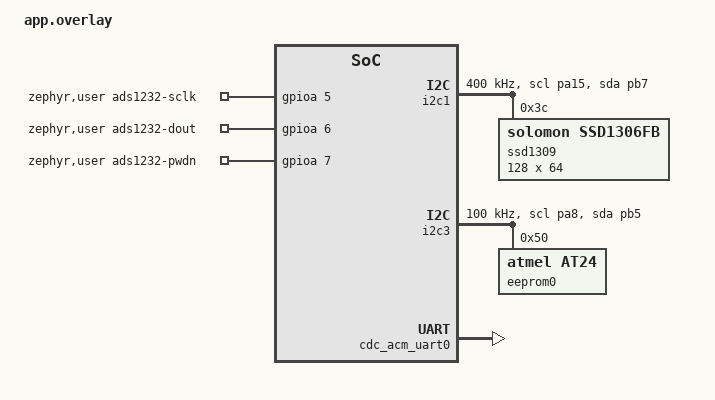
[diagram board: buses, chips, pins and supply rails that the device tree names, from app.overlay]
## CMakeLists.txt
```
# Copyright (c) 2026
# SPDX-License-Identifier: Apache-2.0

cmake_minimum_required(VERSION 3.20.0)

find_package(Zephyr REQUIRED HINTS $ENV{ZEPHYR_BASE})
project(dajilog_scale)

if(NOT "${BOARD}" STREQUAL "dajilog_tech")
  message(FATAL_ERROR "dajilog_scale is pinned to -b dajilog_tech")
endif()

target_include_directories(app PRIVATE include)

target_sources(app PRIVATE
  src/main.c
  src/scale_service.c
  src/calibration_fsm.c
  src/calibration_store.c
  src/scale_can_protocol.c
  src/scale_can_service.c
)
```

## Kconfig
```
# Copyright (c) 2026
# SPDX-License-Identifier: Apache-2.0

source "Kconfig.zephyr"

menuconfig DAJILOG_SCALE_APP
	bool "Dajilog scale application"
	default y
	depends on DAJILOG_COMPONENT_ADS1232
	depends on DAJILOG_COMPONENT_CAN_BUS
	depends on DAJILOG_COMPONENT_EEPROM_STORE
	depends on DAJILOG_COMPONENT_DEVICE_PROFILE
	depends on DAJILOG_COMPONENT_DEVICE_INFO
	depends on DAJILOG_COMPONENT_DEVICE_PROVISIONING

if DAJILOG_SCALE_APP

config SCALE_SAMPLE_PERIOD_MS
	int "ADS1232 sample period in milliseconds"
	default 100
	range 50 1000

config SCALE_FILTER_WINDOW_SAMPLES
	int "Moving-average and stability window sample count"
	default 10
	range 2 32

config SCALE_STABLE_P2P_RAW_LIMIT
	int "Stable maximum peak-to-peak raw ADC count"
	default 200
	range 1 100000

config SCALE_RAW_DIAGNOSTIC_MODE
	bool "Bypass filtering for raw ADC diagnosis"
	default n
	help
	  Use each instantaneous ADS1232 sample directly for the displayed,
	  transmitted, and calculated value. Stability is forced true and P2P is
	  reported as zero. Use this only to investigate the analog front end; do
	  not perform or save calibration while it is enabled.

config SCALE_SERVICE_THREAD_STACK_SIZE
	int "Scale service thread stack size"
	default 2048

config SCALE_SERVICE_THREAD_PRIORITY
	int "Scale service thread priority"
	default 5

config SCALE_SERVICE_MSGQ_DEPTH
	int "Scale service command queue depth"
	default 8
	range 2 32

config SCALE_CAN_THREAD_STACK_SIZE
	int "Scale CAN service thread stack size"
	default 2048

config SCALE_CAN_THREAD_PRIORITY
	int "Scale CAN service thread priority"
	default 6

config SCALE_CAN_MEASUREMENT_PERIOD_MS
	int "CAN measurement publish period in milliseconds"
	default 500
	range 100 5000

config SCALE_CAN_DIAGNOSTIC
	bool "Print scale CAN RX/TX diagnostic frames"
	default y
	help
	  Print accepted standard command frames on ID 0x320 and periodic
	  measurement transmit requests on ID 0x322. Disable after CAN physical
	  layer and protocol integration are verified.

config SCALE_CAN_ENABLE
	bool "Enable CAN bus and scale CAN service"
	default y
	help
	  Initialize the FDCAN peripheral and start the scale CAN RX/TX service.
	  Disable this while isolating ADS1232, load-cell, or analog-front-end
	  behavior from CAN physical-layer activity.

config SCALE_LOAD_CALIBRATION_AT_BOOT
	bool "Load calibration record from EEPROM at boot"
	default n
	help
	  Keep disabled until EEPROM hardware bring-up and USB CDC startup are
	  verified together. Saving through CAL_SAVE remains explicit.

config SCALE_DEVICE_PROFILE_ALLOW_DEVELOPMENT
	bool "Allow development Device Profile fallback"
	default y
	help
	  Use the Kconfig node ID and serial when EEPROM has no valid Device
	  Profile. Production units must use a persistent provisioned profile.

config SCALE_DEVICE_NODE_ID
	int "Development CAN node ID"
	default 12
	range 1 127

config SCALE_DEVICE_SERIAL_NUMBER
	int "Development device serial number"
	default 100001
	range 1 2147483647

config SCALE_DEVICE_HW_REVISION
	int "Device hardware revision"
	default 1
	range 0 255

config SCALE_DEVICE_FW_MAJOR
	int "Firmware major version"
	default 0
	range 0 255

config SCALE_DEVICE_FW_MINOR
	int "Firmware minor version"
	default 1
	range 0 255

config SCALE_DEVICE_FW_PATCH
	int "Firmware patch version"
	default 0
	range 0 255

config SCALE_DEVICE_FW_BUILD
	int "Firmware build revision"
	default 1
	range 0 255

endif # DAJILOG_SCALE_APP
```

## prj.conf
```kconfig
CONFIG_GPIO=y

CONFIG_DAJILOG_COMPONENT_ADS1232=y
CONFIG_DAJILOG_COMPONENT_CAN_BUS=y
CONFIG_DAJILOG_COMPONENT_EEPROM_STORE=y
CONFIG_DAJILOG_COMPONENT_DEVICE_PROFILE=y
CONFIG_DAJILOG_COMPONENT_DEVICE_INFO=y
CONFIG_DAJILOG_COMPONENT_DEVICE_PROVISIONING=y
CONFIG_DAJILOG_COMPONENT_OLED_DISPLAY=y
CONFIG_DAJILOG_OLED_SCAN_I2C_ON_INIT=n
CONFIG_DAJILOG_OLED_SCAN_PERIOD_MS=0

CONFIG_EEPROM=y
CONFIG_CRC=y
CONFIG_I2C=y
CONFIG_CAN=y
CONFIG_CAN_FD_MODE=n
CONFIG_CAN_DEFAULT_BITRATE=500000

CONFIG_DISPLAY=y
CONFIG_SSD1306=y
CONFIG_CHARACTER_FRAMEBUFFER=y
CONFIG_CHARACTER_FRAMEBUFFER_USE_DEFAULT_FONTS=y

CONFIG_LOG=y
# Keep diagnostic printk() output on the USB CDC console.  There is no
# dedicated logging backend enabled for this bring-up application.
CONFIG_LOG_PRINTK=y
CONFIG_SERIAL=y
CONFIG_CONSOLE=y
CONFIG_UART_CONSOLE=y
CONFIG_UART_LINE_CTRL=y
CONFIG_USB_DEVICE_STACK=y
CONFIG_USB_CDC_ACM=y
CONFIG_USB_DEVICE_INITIALIZE_AT_BOOT=n
CONFIG_USB_DEVICE_PRODUCT="Dajilog Scale"
CONFIG_USB_DEVICE_PID=0x0005
CONFIG_SHELL=y
CONFIG_SHELL_BACKEND_SERIAL=y
CONFIG_DEVICE_SHELL=n
CONFIG_SHELL_PROMPT_UART="dajilog_scale:~$ "
CONFIG_SHELL_STACK_SIZE=1024
CONFIG_SHELL_CMD_BUFF_SIZE=128
CONFIG_SHELL_ARGC_MAX=8
CONFIG_SHELL_HISTORY=n
CONFIG_SHELL_TAB=n
CONFIG_SHELL_WILDCARD=n
CONFIG_SHELL_VT100_COMMANDS=n
CONFIG_SHELL_VT100_COLORS=n
CONFIG_SHELL_METAKEYS=n
CONFIG_SHELL_STATS=n
CONFIG_SHELL_CMDS=n
CONFIG_SHELL_LOG_BACKEND=n

CONFIG_HEAP_MEM_POOL_SIZE=2048
```

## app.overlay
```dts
/ {
	chosen {
		zephyr,console = &cdc_acm_uart0;
		zephyr,shell-uart = &cdc_acm_uart0;
		zephyr,display = &ssd1309;
	};

	aliases {
		eeprom-0 = &eeprom0;
	};

	zephyr,user {
		ads1232-sclk-gpios = <&gpioa 5 GPIO_ACTIVE_HIGH>;
		ads1232-dout-gpios = <&gpioa 6 GPIO_ACTIVE_HIGH>;
		ads1232-pwdn-gpios = <&gpioa 7 GPIO_ACTIVE_HIGH>;
	};
};

&i2c1 {
	pinctrl-0 = <&i2c1_scl_pa15 &i2c1_sda_pb7>;
	pinctrl-names = "default";
	clock-frequency = <400000>;
	status = "okay";

	ssd1309: ssd1309@3c {
		compatible = "solomon,ssd1306fb";
		reg = <0x3c>;
		width = <128>;
		height = <64>;
		segment-offset = <0>;
		page-offset = <0>;
		display-offset = <0>;
		multiplex-ratio = <63>;
		segment-remap;
		com-invdir;
		prechargep = <0x22>;
	};
};

&i2c3 {
	pinctrl-0 = <&i2c3_scl_pa8 &i2c3_sda_pb5>;
	pinctrl-names = "default";
	clock-frequency = <100000>;
	status = "okay";

	eeprom0: eeprom@50 {
		compatible = "atmel,at24";
		reg = <0x50>;
		size = <32768>;
		pagesize = <64>;
		address-width = <16>;
		timeout = <5>;
	};
};

&zephyr_udc0 {
	cdc_acm_uart0: cdc_acm_uart0 {
		compatible = "zephyr,cdc-acm-uart";
	};
};
```

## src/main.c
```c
/* SPDX-License-Identifier: Apache-2.0 */

#include <zephyr/device.h>
#include <zephyr/devicetree.h>
#include <zephyr/drivers/uart.h>
#include <zephyr/kernel.h>
#include <zephyr/sys/printk.h>
#include <zephyr/usb/usb_device.h>

#include <ads1232/ads1232.h>
#include <can_bus/can_bus.h>
#include <dajilog_device_info/dajilog_device_info.h>
#include <dajilog_device_profile/dajilog_device_profile.h>
#include <dajilog_device_provisioning/dajilog_device_provisioning.h>
#include <display_oled/display_oled.h>
#include <eeprom_store/eeprom_store.h>

#include "scale_can_protocol.h"
#include "scale_can_service.h"
#include "scale_service.h"

#define USER_NODE DT_PATH(zephyr_user)
#define I2C1_NODE DT_NODELABEL(i2c1)

static const struct device *const console_dev =
    DEVICE_DT_GET(DT_CHOSEN(zephyr_console));

static struct ads1232 loadcell_adc = {
    .config =
        {
            .sclk = GPIO_DT_SPEC_GET(USER_NODE, ads1232_sclk_gpios),
            .dout = GPIO_DT_SPEC_GET(USER_NODE, ads1232_dout_gpios),
            .pwdn = GPIO_DT_SPEC_GET(USER_NODE, ads1232_pwdn_gpios),
            .drdy_timeout_ms = CONFIG_DAJILOG_ADS1232_DRDY_TIMEOUT_MS,
            .startup_delay_ms = CONFIG_DAJILOG_ADS1232_STARTUP_DELAY_MS,
            .sclk_half_period_us = CONFIG_DAJILOG_ADS1232_SCLK_HALF_PERIOD_US,
        },
};

static struct can_bus can1 = {
    .config =
        {
            .dev = DEVICE_DT_GET(DT_CHOSEN(zephyr_canbus)),
            .default_tx_id = SCALE_CAN_ID_MEASUREMENT,
        },
};

static struct oled_display oled = {
    .config =
        {
            .display = DEVICE_DT_GET(DT_CHOSEN(zephyr_display)),
            .i2c = DEVICE_DT_GET(I2C1_NODE),
            .i2c_speed_hz = 400000,
            .scan_i2c_on_init = false,
        },
};

static struct scale_service scale;
static struct scale_can_service scale_can;
static struct dajilog_device_profile device_profile = {
    .config =
        {
            .allow_development_profile =
                IS_ENABLED(CONFIG_SCALE_DEVICE_PROFILE_ALLOW_DEVELOPMENT),
            .development_node_id = CONFIG_SCALE_DEVICE_NODE_ID,
            .development_hardware_revision = CONFIG_SCALE_DEVICE_HW_REVISION,
            .development_serial_number = CONFIG_SCALE_DEVICE_SERIAL_NUMBER,
        },
};
static struct dajilog_device_info device_info;

static void scale_device_runtime_get(void *user_data,
                                     struct dajilog_device_runtime *runtime) {
  struct scale_service *service = user_data;
  struct scale_state state;

  scale_service_state_get(service, &state);
  if (!state.ready || !state.value_valid || !state.calibration.valid ||
      state.last_error != 0) {
    *runtime = (struct dajilog_device_runtime){
        .health = DAJILOG_DEVICE_HEALTH_DEGRADED,
        .last_error = state.last_error,
    };
    return;
  }

  *runtime = (struct dajilog_device_runtime){
      .health = DAJILOG_DEVICE_HEALTH_READY,
      .last_error = 0,
  };
}

static void start_usb_cdc_console(void) {
  uint32_t dtr = 0;

  k_sleep(K_MSEC(2000));
  if (!IS_ENABLED(CONFIG_USB_DEVICE_INITIALIZE_AT_BOOT)) {
    for (int i = 0; i < 3; i++) {
      if (usb_enable(NULL) == 0) {
        break;
      }
      k_sleep(K_MSEC(200));
    }
  }

  for (int elapsed = 0; elapsed < 3000; elapsed += 100) {
    (void)uart_line_ctrl_get(console_dev, UART_LINE_CTRL_DTR, &dtr);
    if (dtr != 0) {
      break;
    }
    k_sleep(K_MSEC(100));
  }
}

int main(void) {
  struct dajilog_device_profile_state profile_state;
  struct dajilog_device_identity identity = {
      .device_type = DAJILOG_DEVICE_TYPE_SCALE,
      .hardware_revision = CONFIG_SCALE_DEVICE_HW_REVISION,
      .firmware_major = CONFIG_SCALE_DEVICE_FW_MAJOR,
      .firmware_minor = CONFIG_SCALE_DEVICE_FW_MINOR,
      .firmware_patch = CONFIG_SCALE_DEVICE_FW_PATCH,
      .firmware_build = CONFIG_SCALE_DEVICE_FW_BUILD,
      .app_protocol_version = SCALE_CAN_PROTOCOL_VERSION,
      .capability =
          DAJILOG_CAPABILITY_MEASUREMENT | DAJILOG_CAPABILITY_CALIBRATION |
          DAJILOG_CAPABILITY_EEPROM_STORE | DAJILOG_CAPABILITY_SERVICE_MODE,
  };
  int ret;

  start_usb_cdc_console();
  printk("Dajilog scale app skeleton\r\n");
  printk("ADS1232 -> scale service -> CAN/OLED\r\n");

  ret = ads1232_init(&loadcell_adc);
  printk("ADS1232 init ret=%d\r\n", ret);
  if (ret != 0) {
    return ret;
  }

  ret = eeprom_store_init();
  printk("EEPROM readiness ret=%d (read/write test disabled by default)\r\n",
         ret);

  ret = dajilog_device_profile_init(&device_profile);
  dajilog_device_profile_get(&device_profile, &profile_state);
  printk("Device profile init ret=%d valid=%d persistent=%d development=%d "
         "node=%u serial=%u hw=%u\r\n",
         ret, profile_state.valid, profile_state.persistent,
         profile_state.development, profile_state.data.node_id,
         (unsigned int)profile_state.data.serial_number,
         profile_state.data.hardware_revision);
  if (ret != 0) {
    return ret;
  }
  identity.hardware_revision = profile_state.data.hardware_revision;
  ret = dajilog_device_info_init(&device_info, &identity, &device_profile);
  printk("Device Info init ret=%d request=0x%03x response=0x%03x\r\n", ret,
         DAJILOG_DEVICE_INFO_REQUEST_BASE_ID + profile_state.data.node_id,
         DAJILOG_DEVICE_INFO_RESPONSE_BASE_ID + profile_state.data.node_id);
  if (ret != 0) {
    return ret;
  }
  ret = dajilog_device_provisioning_init(
      &(struct dajilog_device_provisioning_config){
          .device_info = &device_info,
          .runtime_get = scale_device_runtime_get,
          .user_data = &scale,
      });
  printk("Device provisioning shell init ret=%d\r\n", ret);
  if (ret != 0) {
    return ret;
  }

  if (IS_ENABLED(CONFIG_SCALE_CAN_ENABLE)) {
    ret = can_bus_init(&can1);
    if (ret == 0) {
      ret = can_bus_start(&can1);
    }
    printk("CAN init ret=%d\r\n", ret);
    if (ret != 0) {
      return ret;
    }
  } else {
    printk("CAN disabled for ADC diagnosis\r\n");
  }

  ret = oled_display_init(&oled);
  printk("OLED init ret=%d\r\n", ret);

  ret = scale_service_init(&scale, &loadcell_adc);
  if (ret == 0) {
    ret = scale_service_start(&scale);
  }
  printk("Scale service start ret=%d\r\n", ret);
  if (ret != 0) {
    return ret;
  }

  if (IS_ENABLED(CONFIG_SCALE_CAN_ENABLE)) {
    ret = scale_can_service_init(&scale_can, &can1, &scale, &device_info);
    if (ret == 0) {
      ret = scale_can_service_start(&scale_can);
    }
    printk("Scale CAN service start ret=%d\r\n", ret);
  }

  while (1) {
    struct ads1232_state adc_state;
    struct scale_state state;
    char line0[22];
    char line1[22];

    scale_service_state_get(&scale, &state);
    ads1232_state_get(&loadcell_adc, &adc_state);
    snprintk(line0, sizeof(line0), "RAW %ld", (long)state.latest_raw);
    snprintk(line1, sizeof(line1), "Net %ld mg %s", (long)state.net_weight_mg,
             state.stable ? "ST" : "MV");
    (void)oled_display_show_text(&oled, "Dajilog Scale", line0, line1,
                                 "CAN + calibration");
    printk("SCALE raw=%ld applied=%ld p2p=%ld stable=%d net_mg=%ld cal=%d "
           "scale_err=%d adc_ready=%d adc_valid=%d adc_err=%d adc_n=%llu\r\n",
           (long)state.latest_raw, (long)state.filtered_raw,
           (long)state.p2p_raw, state.stable, (long)state.net_weight_mg,
           state.calibration_state, state.last_error, adc_state.ready,
           adc_state.value_valid, adc_state.last_error,
           (unsigned long long)adc_state.sample_count);
    k_sleep(K_MSEC(200));
  }
}
```

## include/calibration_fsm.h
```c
/* SPDX-License-Identifier: Apache-2.0 */

#ifndef DAJILOG_CALIBRATION_FSM_H_
#define DAJILOG_CALIBRATION_FSM_H_

#include "scale_types.h"

void calibration_fsm_reset(struct scale_state *state);
int calibration_fsm_handle(struct scale_state *state,
			   const struct scale_command_msg *command);
const char *calibration_state_name(enum scale_calibration_state state);

#endif /* DAJILOG_CALIBRATION_FSM_H_ */
```

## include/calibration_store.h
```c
/* SPDX-License-Identifier: Apache-2.0 */

#ifndef DAJILOG_CALIBRATION_STORE_H_
#define DAJILOG_CALIBRATION_STORE_H_

#include "scale_types.h"

int calibration_store_load(struct scale_calibration *calibration);
int calibration_store_save(struct scale_calibration *calibration);

#endif /* DAJILOG_CALIBRATION_STORE_H_ */
```

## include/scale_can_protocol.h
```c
/* SPDX-License-Identifier: Apache-2.0 */

#ifndef DAJILOG_SCALE_CAN_PROTOCOL_H_
#define DAJILOG_SCALE_CAN_PROTOCOL_H_

#include <zephyr/drivers/can.h>

#include "scale_types.h"

#define SCALE_CAN_PROTOCOL_VERSION 0x01U
#define SCALE_CAN_ID_COMMAND 0x320U
#define SCALE_CAN_ID_RESPONSE 0x321U
#define SCALE_CAN_ID_MEASUREMENT 0x322U
#define SCALE_CAN_ID_HEARTBEAT 0x323U

enum scale_can_opcode {
	SCALE_CAN_OP_GET_STATUS = 0x01,
	SCALE_CAN_OP_CAL_START = 0x10,
	SCALE_CAN_OP_CAL_SET_REFERENCE_MG = 0x11,
	SCALE_CAN_OP_CAL_ZERO_CAPTURE = 0x12,
	SCALE_CAN_OP_CAL_SPAN_CAPTURE = 0x13,
	SCALE_CAN_OP_CAL_SAVE = 0x14,
	SCALE_CAN_OP_CAL_CANCEL = 0x15,
	SCALE_CAN_OP_TARE_SET = 0x20,
	SCALE_CAN_OP_TARE_CLEAR = 0x21,
	SCALE_CAN_OP_STATUS = 0x80,
	SCALE_CAN_OP_MEASUREMENT = 0x81,
	SCALE_CAN_OP_ACK = 0x82,
	SCALE_CAN_OP_ERROR = 0xff,
};

int scale_can_decode_command(const struct can_frame *frame,
			     struct scale_command_msg *command);
void scale_can_encode_status(struct can_frame *frame, const struct scale_state *state,
			     uint8_t sequence);
void scale_can_encode_measurement(struct can_frame *frame,
				  const struct scale_state *state);

#endif /* DAJILOG_SCALE_CAN_PROTOCOL_H_ */
```

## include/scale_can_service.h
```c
/* SPDX-License-Identifier: Apache-2.0 */

#ifndef DAJILOG_SCALE_CAN_SERVICE_H_
#define DAJILOG_SCALE_CAN_SERVICE_H_

#include <zephyr/kernel.h>

#include <can_bus/can_bus.h>
#include <dajilog_device_info/dajilog_device_info.h>

#include "scale_service.h"

struct scale_can_service {
	struct can_bus *bus;
	struct scale_service *scale;
	struct dajilog_device_info *device_info;
	struct k_thread thread;
};

int scale_can_service_init(struct scale_can_service *ctx, struct can_bus *bus,
			   struct scale_service *scale,
			   struct dajilog_device_info *device_info);
int scale_can_service_start(struct scale_can_service *ctx);

#endif /* DAJILOG_SCALE_CAN_SERVICE_H_ */
```

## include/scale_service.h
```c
/* SPDX-License-Identifier: Apache-2.0 */

#ifndef DAJILOG_SCALE_SERVICE_H_
#define DAJILOG_SCALE_SERVICE_H_

#include <zephyr/kernel.h>

#include <ads1232/ads1232.h>

#include "scale_types.h"

struct scale_service {
	struct ads1232 *adc;
	struct scale_state state;
	struct k_mutex lock;
	struct k_msgq command_msgq;
	char command_buffer[CONFIG_SCALE_SERVICE_MSGQ_DEPTH *
			    sizeof(struct scale_command_msg)] __aligned(4);
	struct k_thread thread;
};

int scale_service_init(struct scale_service *ctx, struct ads1232 *adc);
int scale_service_start(struct scale_service *ctx);
int scale_service_post_command(struct scale_service *ctx,
			       const struct scale_command_msg *command);
void scale_service_state_get(struct scale_service *ctx, struct scale_state *out);

#endif /* DAJILOG_SCALE_SERVICE_H_ */
```

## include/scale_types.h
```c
/* SPDX-License-Identifier: Apache-2.0 */

#ifndef DAJILOG_SCALE_TYPES_H_
#define DAJILOG_SCALE_TYPES_H_

#include <stdbool.h>
#include <stdint.h>

enum scale_calibration_state {
	SCALE_CAL_IDLE = 0,
	SCALE_CAL_ZERO_WAIT_STABLE,
	SCALE_CAL_ZERO_CAPTURED,
	SCALE_CAL_SPAN_WAIT_STABLE,
	SCALE_CAL_REVIEW_READY,
	SCALE_CAL_SAVE_PENDING,
	SCALE_CAL_FAILED,
};

enum scale_command {
	SCALE_CMD_GET_STATUS = 0,
	SCALE_CMD_CAL_START,
	SCALE_CMD_CAL_SET_REFERENCE_MG,
	SCALE_CMD_CAL_ZERO_CAPTURE,
	SCALE_CMD_CAL_SPAN_CAPTURE,
	SCALE_CMD_CAL_SAVE,
	SCALE_CMD_CAL_CANCEL,
	SCALE_CMD_TARE_SET,
	SCALE_CMD_TARE_CLEAR,
};

struct scale_calibration {
	bool valid;
	int32_t zero_raw;
	int32_t span_raw;
	int32_t reference_weight_mg;
	uint32_t sequence;
};

struct scale_state {
	bool ready;
	bool value_valid;
	bool stable;
	bool tare_active;
	int last_error;
	int32_t latest_raw;
	int32_t filtered_raw;
	int32_t p2p_raw;
	int32_t gross_weight_mg;
	int32_t tare_weight_mg;
	int32_t net_weight_mg;
	uint32_t sample_count;
	enum scale_calibration_state calibration_state;
	struct scale_calibration calibration;
};

struct scale_command_msg {
	enum scale_command command;
	uint8_t sequence;
	int32_t value_mg;
};

#endif /* DAJILOG_SCALE_TYPES_H_ */
```

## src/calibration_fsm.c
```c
/* SPDX-License-Identifier: Apache-2.0 */

#include "calibration_fsm.h"

#include <errno.h>
#include <stddef.h>

void calibration_fsm_reset(struct scale_state *state)
{
	state->calibration_state = SCALE_CAL_IDLE;
}

int calibration_fsm_handle(struct scale_state *state,
			   const struct scale_command_msg *command)
{
	if (state == NULL || command == NULL) {
		return -EINVAL;
	}

	switch (command->command) {
	case SCALE_CMD_CAL_START:
		if (state->calibration_state != SCALE_CAL_IDLE) {
			return -EBUSY;
		}
		state->calibration.valid = false;
		state->calibration_state = SCALE_CAL_ZERO_WAIT_STABLE;
		return 0;
	case SCALE_CMD_CAL_ZERO_CAPTURE:
		if (state->calibration_state != SCALE_CAL_ZERO_WAIT_STABLE) {
			return -EPERM;
		}
		if (!state->stable) {
			return -EAGAIN;
		}
		state->calibration.zero_raw = state->filtered_raw;
		state->calibration_state = SCALE_CAL_ZERO_CAPTURED;
		return 0;
	case SCALE_CMD_CAL_SET_REFERENCE_MG:
		if (state->calibration_state != SCALE_CAL_ZERO_CAPTURED) {
			return -EPERM;
		}
		if (command->value_mg <= 0) {
			return -EINVAL;
		}
		state->calibration.reference_weight_mg = command->value_mg;
		state->calibration_state = SCALE_CAL_SPAN_WAIT_STABLE;
		return 0;
	case SCALE_CMD_CAL_SPAN_CAPTURE:
		if (state->calibration_state != SCALE_CAL_SPAN_WAIT_STABLE) {
			return -EPERM;
		}
		if (!state->stable) {
			return -EAGAIN;
		}
		state->calibration.span_raw = state->filtered_raw;
		if (state->calibration.span_raw == state->calibration.zero_raw) {
			state->calibration_state = SCALE_CAL_FAILED;
			return -ERANGE;
		}
		state->calibration.valid = true;
		state->calibration_state = SCALE_CAL_REVIEW_READY;
		return 0;
	case SCALE_CMD_CAL_SAVE:
		if (state->calibration_state != SCALE_CAL_REVIEW_READY ||
		    !state->calibration.valid) {
			return -EPERM;
		}
		state->calibration_state = SCALE_CAL_SAVE_PENDING;
		return 0;
	case SCALE_CMD_CAL_CANCEL:
		calibration_fsm_reset(state);
		return 0;
	default:
		return -ENOTSUP;
	}
}

const char *calibration_state_name(enum scale_calibration_state state)
{
	switch (state) {
	case SCALE_CAL_IDLE:
		return "IDLE";
	case SCALE_CAL_ZERO_WAIT_STABLE:
		return "ZERO_WAIT_STABLE";
	case SCALE_CAL_ZERO_CAPTURED:
		return "ZERO_CAPTURED";
	case SCALE_CAL_SPAN_WAIT_STABLE:
		return "SPAN_WAIT_STABLE";
	case SCALE_CAL_REVIEW_READY:
		return "REVIEW_READY";
	case SCALE_CAL_SAVE_PENDING:
		return "SAVE_PENDING";
	case SCALE_CAL_FAILED:
		return "FAILED";
	default:
		return "UNKNOWN";
	}
}
```

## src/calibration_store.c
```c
/* SPDX-License-Identifier: Apache-2.0 */

#include "calibration_store.h"

#include <errno.h>
#include <string.h>

#include <zephyr/sys/crc.h>

#include <eeprom_store/eeprom_store.h>

#define CALIBRATION_MAGIC 0x444a4341U
#define CALIBRATION_FORMAT_VERSION 1U
#define CALIBRATION_SLOT_A_OFFSET 0x0000
#define CALIBRATION_SLOT_B_OFFSET 0x0100

struct calibration_record {
	uint32_t magic;
	uint16_t format_version;
	uint16_t reserved;
	uint32_t sequence;
	int32_t zero_raw;
	int32_t span_raw;
	int32_t reference_weight_mg;
	uint32_t crc32;
};

static uint32_t record_crc(const struct calibration_record *record)
{
	return crc32_ieee((const uint8_t *)record,
			  offsetof(struct calibration_record, crc32));
}

static bool record_is_valid(const struct calibration_record *record)
{
	return record->magic == CALIBRATION_MAGIC &&
	       record->format_version == CALIBRATION_FORMAT_VERSION &&
	       record->reference_weight_mg > 0 &&
	       record->span_raw != record->zero_raw &&
	       record->crc32 == record_crc(record);
}

static int read_record(off_t offset, struct calibration_record *record)
{
	int ret = eeprom_store_read(offset, record, sizeof(*record));

	if (ret != 0 || !record_is_valid(record)) {
		return ret != 0 ? ret : -EBADMSG;
	}

	return 0;
}

int calibration_store_load(struct scale_calibration *calibration)
{
	struct calibration_record slot_a;
	struct calibration_record slot_b;
	const struct calibration_record *selected = NULL;
	int ret_a;
	int ret_b;

	if (calibration == NULL) {
		return -EINVAL;
	}

	ret_a = read_record(CALIBRATION_SLOT_A_OFFSET, &slot_a);
	ret_b = read_record(CALIBRATION_SLOT_B_OFFSET, &slot_b);
	if (ret_a == 0 && (ret_b != 0 || slot_a.sequence >= slot_b.sequence)) {
		selected = &slot_a;
	} else if (ret_b == 0) {
		selected = &slot_b;
	} else {
		return -ENOENT;
	}

	calibration->valid = true;
	calibration->zero_raw = selected->zero_raw;
	calibration->span_raw = selected->span_raw;
	calibration->reference_weight_mg = selected->reference_weight_mg;
	calibration->sequence = selected->sequence;
	return 0;
}

int calibration_store_save(struct scale_calibration *calibration)
{
	struct calibration_record record = {
		.magic = CALIBRATION_MAGIC,
		.format_version = CALIBRATION_FORMAT_VERSION,
		.sequence = calibration->sequence + 1U,
		.zero_raw = calibration->zero_raw,
		.span_raw = calibration->span_raw,
		.reference_weight_mg = calibration->reference_weight_mg,
	};
	struct calibration_record verify;
	off_t offset;
	int ret;

	if (calibration == NULL || !calibration->valid ||
	    calibration->reference_weight_mg <= 0 ||
	    calibration->span_raw == calibration->zero_raw) {
		return -EINVAL;
	}

	record.crc32 = record_crc(&record);
	offset = (record.sequence & 1U) != 0U ? CALIBRATION_SLOT_A_OFFSET :
						     CALIBRATION_SLOT_B_OFFSET;

	ret = eeprom_store_write(offset, &record, sizeof(record));
	if (ret != 0) {
		return ret;
	}
	ret = eeprom_store_read(offset, &verify, sizeof(verify));
	if (ret != 0) {
		return ret;
	}
	if (!record_is_valid(&verify) || memcmp(&record, &verify, sizeof(record)) != 0) {
		return -EIO;
	}

	calibration->sequence = record.sequence;
	return 0;
}
```

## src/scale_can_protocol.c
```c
/* SPDX-License-Identifier: Apache-2.0 */

#include "scale_can_protocol.h"

#include <errno.h>

static int32_t get_i32_le(const uint8_t *data)
{
	return (int32_t)((uint32_t)data[0] | ((uint32_t)data[1] << 8) |
			 ((uint32_t)data[2] << 16) | ((uint32_t)data[3] << 24));
}

static void put_i32_le(uint8_t *data, int32_t value)
{
	data[0] = (uint8_t)value;
	data[1] = (uint8_t)((uint32_t)value >> 8);
	data[2] = (uint8_t)((uint32_t)value >> 16);
	data[3] = (uint8_t)((uint32_t)value >> 24);
}

int scale_can_decode_command(const struct can_frame *frame,
			     struct scale_command_msg *command)
{
	if (frame == NULL || command == NULL || frame->id != SCALE_CAN_ID_COMMAND ||
	    (frame->flags & CAN_FRAME_IDE) != 0U || frame->dlc != 8 ||
	    frame->data[0] != SCALE_CAN_PROTOCOL_VERSION) {
		return -EINVAL;
	}

	command->sequence = frame->data[2];
	command->value_mg = get_i32_le(&frame->data[4]);
	switch (frame->data[1]) {
	case SCALE_CAN_OP_GET_STATUS:
		command->command = SCALE_CMD_GET_STATUS;
		break;
	case SCALE_CAN_OP_CAL_START:
		command->command = SCALE_CMD_CAL_START;
		break;
	case SCALE_CAN_OP_CAL_SET_REFERENCE_MG:
		command->command = SCALE_CMD_CAL_SET_REFERENCE_MG;
		break;
	case SCALE_CAN_OP_CAL_ZERO_CAPTURE:
		command->command = SCALE_CMD_CAL_ZERO_CAPTURE;
		break;
	case SCALE_CAN_OP_CAL_SPAN_CAPTURE:
		command->command = SCALE_CMD_CAL_SPAN_CAPTURE;
		break;
	case SCALE_CAN_OP_CAL_SAVE:
		command->command = SCALE_CMD_CAL_SAVE;
		break;
	case SCALE_CAN_OP_CAL_CANCEL:
		command->command = SCALE_CMD_CAL_CANCEL;
		break;
	case SCALE_CAN_OP_TARE_SET:
		command->command = SCALE_CMD_TARE_SET;
		break;
	case SCALE_CAN_OP_TARE_CLEAR:
		command->command = SCALE_CMD_TARE_CLEAR;
		break;
	default:
		return -ENOTSUP;
	}

	return 0;
}

void scale_can_encode_status(struct can_frame *frame, const struct scale_state *state,
			     uint8_t sequence)
{
	*frame = (struct can_frame){
		.id = SCALE_CAN_ID_RESPONSE,
		.dlc = 8,
	};
	frame->data[0] = SCALE_CAN_PROTOCOL_VERSION;
	frame->data[1] = SCALE_CAN_OP_STATUS;
	frame->data[2] = sequence;
	frame->data[3] = (uint8_t)state->calibration_state;
	put_i32_le(&frame->data[4], state->last_error);
}

void scale_can_encode_measurement(struct can_frame *frame,
				  const struct scale_state *state)
{
	*frame = (struct can_frame){
		.id = SCALE_CAN_ID_MEASUREMENT,
		.dlc = 8,
	};
	frame->data[0] = SCALE_CAN_PROTOCOL_VERSION;
	frame->data[1] = SCALE_CAN_OP_MEASUREMENT;
	frame->data[2] = state->stable ? 1U : 0U;
	frame->data[3] = state->tare_active ? 1U : 0U;
	put_i32_le(&frame->data[4], state->net_weight_mg);
}
```

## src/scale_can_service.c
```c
/* SPDX-License-Identifier: Apache-2.0 */

#include "scale_can_service.h"

#include <errno.h>

#include "scale_can_protocol.h"

K_THREAD_STACK_DEFINE(scale_can_service_stack, CONFIG_SCALE_CAN_THREAD_STACK_SIZE);

static bool scale_can_is_device_info_request(const struct scale_can_service *ctx,
					      const struct can_frame *frame)
{
	struct dajilog_device_profile_state profile;

	if (ctx->device_info == NULL || ctx->device_info->profile == NULL) {
		return false;
	}

	dajilog_device_profile_get(ctx->device_info->profile, &profile);
	return profile.valid &&
	       frame->id == DAJILOG_DEVICE_INFO_REQUEST_BASE_ID + profile.data.node_id;
}

static struct dajilog_device_runtime scale_can_runtime_state(
	const struct scale_state *state)
{
	if (!state->ready || !state->value_valid || !state->calibration.valid ||
	    state->last_error != 0) {
		return (struct dajilog_device_runtime){
			.health = DAJILOG_DEVICE_HEALTH_DEGRADED,
			.last_error = state->last_error,
		};
	}

	return (struct dajilog_device_runtime){
		.health = DAJILOG_DEVICE_HEALTH_READY,
		.last_error = 0,
	};
}

static void scale_can_handle_device_info(struct scale_can_service *ctx,
					 const struct can_frame *request)
{
	struct can_frame response;
	struct scale_state state;
	struct dajilog_device_runtime runtime;
	int ret;

	scale_service_state_get(ctx->scale, &state);
	runtime = scale_can_runtime_state(&state);
	ret = dajilog_device_info_handle_request(ctx->device_info, &runtime,
					 request, &response);
	if (ret == 0) {
		ret = can_bus_send(ctx->bus, &response);
	}

	if (IS_ENABLED(CONFIG_SCALE_CAN_DIAGNOSTIC)) {
		printk("DEVICE INFO req=0x%03x op=0x%02x seq=%u response=0x%03x ret=%d health=%u\r\n",
		       request->id, request->data[1], request->data[2],
		       ret == 0 ? response.id : 0U,
		       ret, runtime.health);
	}
}

static void scale_can_service_thread(void *arg1, void *arg2, void *arg3)
{
	struct scale_can_service *ctx = arg1;
	int64_t next_measurement = k_uptime_get();

	ARG_UNUSED(arg2);
	ARG_UNUSED(arg3);

	while (1) {
		struct can_frame rx;
		struct scale_command_msg command;
		struct scale_state state;
		int ret;

		ret = can_bus_receive(ctx->bus, &rx, K_MSEC(50));
		if (ret == 0 && scale_can_is_device_info_request(ctx, &rx)) {
			scale_can_handle_device_info(ctx, &rx);
		} else if (ret == 0 && rx.id == SCALE_CAN_ID_COMMAND) {
			ret = scale_can_decode_command(&rx, &command);
			if (ret == 0) {
				ret = scale_service_post_command(ctx->scale, &command);
				if (IS_ENABLED(CONFIG_SCALE_CAN_DIAGNOSTIC)) {
					printk("SCALE CAN RX std id=0x%03x op=0x%02x seq=%u value_mg=%ld post=%d\r\n",
					       rx.id, rx.data[1], command.sequence,
					       (long)command.value_mg, ret);
				}

				if (command.command == SCALE_CMD_GET_STATUS) {
					struct can_frame status;

					scale_service_state_get(ctx->scale, &state);
					scale_can_encode_status(&status, &state, command.sequence);
					(void)can_bus_send(ctx->bus, &status);
				}
			} else if (IS_ENABLED(CONFIG_SCALE_CAN_DIAGNOSTIC)) {
				printk("SCALE CAN RX reject id=0x%03x op=0x%02x ret=%d\r\n",
				       rx.id, rx.data[1], ret);
			}
		}

		if (k_uptime_get() < next_measurement) {
			continue;
		}

		scale_service_state_get(ctx->scale, &state);
		if (state.value_valid) {
			struct can_frame tx;

			scale_can_encode_measurement(&tx, &state);
			ret = can_bus_send(ctx->bus, &tx);
			if (IS_ENABLED(CONFIG_SCALE_CAN_DIAGNOSTIC)) {
				printk("SCALE CAN TX std id=0x%03x net_mg=%ld stable=%d ret=%d\r\n",
				       tx.id, (long)state.net_weight_mg, state.stable, ret);
			}
		}
		next_measurement += CONFIG_SCALE_CAN_MEASUREMENT_PERIOD_MS;
	}
}

int scale_can_service_init(struct scale_can_service *ctx, struct can_bus *bus,
			   struct scale_service *scale,
			   struct dajilog_device_info *device_info)
{
	if (ctx == NULL || bus == NULL || scale == NULL || device_info == NULL) {
		return -EINVAL;
	}

	ctx->bus = bus;
	ctx->scale = scale;
	ctx->device_info = device_info;
	return 0;
}

int scale_can_service_start(struct scale_can_service *ctx)
{
	if (ctx == NULL || ctx->bus == NULL || ctx->scale == NULL ||
	    ctx->device_info == NULL) {
		return -EINVAL;
	}

	k_thread_create(&ctx->thread, scale_can_service_stack,
			K_THREAD_STACK_SIZEOF(scale_can_service_stack), scale_can_service_thread,
			ctx, NULL, NULL, CONFIG_SCALE_CAN_THREAD_PRIORITY, 0, K_NO_WAIT);
	return 0;
}
```

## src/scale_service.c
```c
/* SPDX-License-Identifier: Apache-2.0 */

#include "scale_service.h"

#include <errno.h>
#include <limits.h>

#include <zephyr/sys/printk.h>

#include "calibration_fsm.h"
#include "calibration_store.h"

K_THREAD_STACK_DEFINE(scale_service_stack, CONFIG_SCALE_SERVICE_THREAD_STACK_SIZE);

static void scale_update_weight(struct scale_state *state)
{
	int64_t numerator;

	if (!state->calibration.valid ||
	    state->calibration.span_raw == state->calibration.zero_raw) {
		state->gross_weight_mg = 0;
		state->net_weight_mg = 0;
		return;
	}

	numerator = (int64_t)(state->filtered_raw - state->calibration.zero_raw) *
		    state->calibration.reference_weight_mg;
	state->gross_weight_mg = (int32_t)(numerator /
		(state->calibration.span_raw - state->calibration.zero_raw));
	state->net_weight_mg = state->gross_weight_mg - state->tare_weight_mg;
}

static void scale_process_command(struct scale_service *ctx,
				  const struct scale_command_msg *command)
{
	struct scale_state *state = &ctx->state;
	int ret;

	k_mutex_lock(&ctx->lock, K_FOREVER);
	if (command->command == SCALE_CMD_TARE_SET) {
		if (!state->calibration.valid) {
			ret = -EPERM;
		} else {
			state->tare_weight_mg = state->gross_weight_mg;
			state->tare_active = true;
			state->net_weight_mg = 0;
			ret = 0;
		}
	} else if (command->command == SCALE_CMD_TARE_CLEAR) {
		state->tare_weight_mg = 0;
		state->tare_active = false;
		scale_update_weight(state);
		ret = 0;
	} else if (command->command == SCALE_CMD_CAL_SAVE) {
		ret = calibration_fsm_handle(state, command);
		if (ret == 0) {
			ret = calibration_store_save(&state->calibration);
			state->calibration_state = ret == 0 ? SCALE_CAL_IDLE : SCALE_CAL_FAILED;
		}
	} else if (command->command == SCALE_CMD_GET_STATUS) {
		ret = 0;
	} else {
		ret = calibration_fsm_handle(state, command);
	}
	state->last_error = ret;
	k_mutex_unlock(&ctx->lock);

	printk("SCALE cmd=%d seq=%u ret=%d cal=%s\r\n", command->command,
	       command->sequence, ret, calibration_state_name(state->calibration_state));
}

static void scale_sample(struct scale_service *ctx, int64_t *sum,
			 int32_t samples[CONFIG_SCALE_FILTER_WINDOW_SAMPLES], uint8_t *next,
			 uint8_t *count)
{
	int32_t raw;
	int32_t min = INT32_MAX;
	int32_t max = INT32_MIN;
	int ret = ads1232_sample(ctx->adc, &raw);

	k_mutex_lock(&ctx->lock, K_FOREVER);
	if (ret != 0) {
		ctx->state.last_error = ret;
		k_mutex_unlock(&ctx->lock);
		return;
	}

	ctx->state.ready = true;
	ctx->state.value_valid = true;
	ctx->state.last_error = 0;
	ctx->state.latest_raw = raw;

	if (IS_ENABLED(CONFIG_SCALE_RAW_DIAGNOSTIC_MODE)) {
		ctx->state.filtered_raw = raw;
		ctx->state.p2p_raw = 0;
		ctx->state.stable = true;
	} else {
		if (*count == CONFIG_SCALE_FILTER_WINDOW_SAMPLES) {
			*sum -= samples[*next];
		} else {
			(*count)++;
		}
		samples[*next] = raw;
		*sum += raw;
		*next = (*next + 1U) % CONFIG_SCALE_FILTER_WINDOW_SAMPLES;

		for (uint8_t i = 0; i < *count; i++) {
			if (samples[i] < min) {
				min = samples[i];
			}
			if (samples[i] > max) {
				max = samples[i];
			}
		}
		ctx->state.filtered_raw = (int32_t)(*sum / *count);
		ctx->state.p2p_raw = max - min;
		ctx->state.stable = *count == CONFIG_SCALE_FILTER_WINDOW_SAMPLES &&
				    ctx->state.p2p_raw <= CONFIG_SCALE_STABLE_P2P_RAW_LIMIT;
	}
	ctx->state.sample_count++;
	scale_update_weight(&ctx->state);
	k_mutex_unlock(&ctx->lock);
}

static void scale_service_thread(void *arg1, void *arg2, void *arg3)
{
	struct scale_service *ctx = arg1;
	struct scale_command_msg command;
	int32_t samples[CONFIG_SCALE_FILTER_WINDOW_SAMPLES] = {0};
	int64_t sum = 0;
	int64_t next_sample = k_uptime_get();
	uint8_t count = 0;
	uint8_t next = 0;

	ARG_UNUSED(arg2);
	ARG_UNUSED(arg3);

	while (1) {
		int64_t now = k_uptime_get();
		int32_t timeout = now >= next_sample ? 0 : (int32_t)(next_sample - now);

		if (k_msgq_get(&ctx->command_msgq, &command, K_MSEC(timeout)) == 0) {
			scale_process_command(ctx, &command);
		}

		if (k_uptime_get() >= next_sample) {
			scale_sample(ctx, &sum, samples, &next, &count);
			next_sample += CONFIG_SCALE_SAMPLE_PERIOD_MS;
		}
	}
}

int scale_service_init(struct scale_service *ctx, struct ads1232 *adc)
{
	int ret;

	if (ctx == NULL || adc == NULL) {
		return -EINVAL;
	}

	ctx->adc = adc;
	ctx->state = (struct scale_state){0};
	k_mutex_init(&ctx->lock);
	k_msgq_init(&ctx->command_msgq, ctx->command_buffer,
		    sizeof(struct scale_command_msg), CONFIG_SCALE_SERVICE_MSGQ_DEPTH);
	calibration_fsm_reset(&ctx->state);

	if (IS_ENABLED(CONFIG_SCALE_LOAD_CALIBRATION_AT_BOOT)) {
		ret = calibration_store_load(&ctx->state.calibration);
		if (ret != 0) {
			ctx->state.last_error = ret;
		}
	}

	return 0;
}

int scale_service_start(struct scale_service *ctx)
{
	if (ctx == NULL || ctx->adc == NULL) {
		return -EINVAL;
	}

	k_thread_create(&ctx->thread, scale_service_stack,
			K_THREAD_STACK_SIZEOF(scale_service_stack), scale_service_thread,
			ctx, NULL, NULL, CONFIG_SCALE_SERVICE_THREAD_PRIORITY, 0, K_NO_WAIT);
	return 0;
}

int scale_service_post_command(struct scale_service *ctx,
			       const struct scale_command_msg *command)
{
	if (ctx == NULL || command == NULL) {
		return -EINVAL;
	}

	return k_msgq_put(&ctx->command_msgq, command, K_NO_WAIT);
}

void scale_service_state_get(struct scale_service *ctx, struct scale_state *out)
{
	if (ctx == NULL || out == NULL) {
		return;
	}

	k_mutex_lock(&ctx->lock, K_FOREVER);
	*out = ctx->state;
	k_mutex_unlock(&ctx->lock);
}
```
